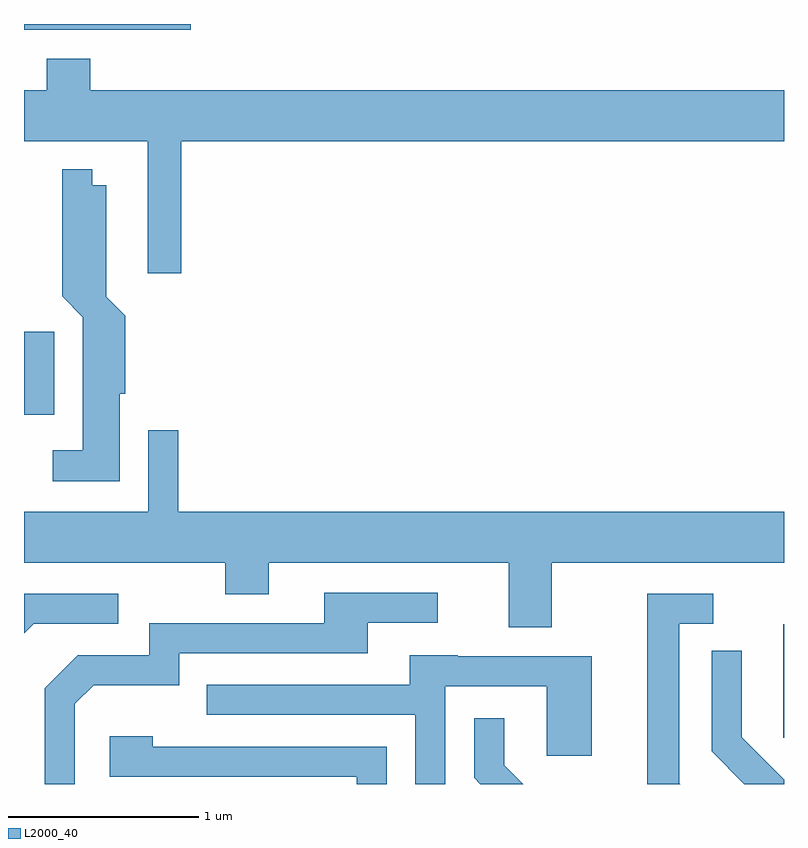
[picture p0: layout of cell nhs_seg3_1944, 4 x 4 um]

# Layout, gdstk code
import gdstk
lib = gdstk.Library(unit=1e-6, precision=1e-09)
def R(c, l, rs):  # rectangles x0, y0, x1, y1
    for r in rs: c.add(gdstk.rectangle(r[:2], r[2:], *l))
def P(c, l, *ps):  # polygons
    for p in ps: c.add(gdstk.Polygon(p, *l))
L2000_40 = (2000, 40)

nhs_seg3_1944 = lib.new_cell('nhs_seg3_1944')
R(nhs_seg3_1944, L2000_40, [(245.606,1196.136,245.611,1196.734), (241.611,1197.836,241.769,1198.273), (241.611,1199.861,242.488,1199.892)])
P(nhs_seg3_1944, L2000_40, [(242.439,1199.276),(245.611,1199.276),(245.611,1199.544),(241.959,1199.544),(241.959,1199.709),(241.731,1199.709),(241.731,1199.544),(241.611,1199.544),(241.611,1199.276),(242.261,1199.276),(242.261,1198.581),(242.439,1198.581)],
  [(242.114,1197.946),(242.144,1197.946),(242.144,1198.357),(242.044,1198.457),(242.044,1199.044),(241.969,1199.044),(241.969,1199.128),(241.811,1199.128),(241.811,1198.459),(241.921,1198.349),(241.921,1197.649),(241.763,1197.649),(241.763,1197.486),(242.114,1197.486)],
  [(244.389,1197.056),(245.611,1197.056),(245.611,1197.324),(242.424,1197.324),(242.424,1197.753),(242.266,1197.753),(242.266,1197.324),(241.611,1197.324),(241.611,1197.056),(242.671,1197.056),(242.671,1196.891),(242.899,1196.891),(242.899,1197.056),(244.161,1197.056),(244.161,1196.716),(244.389,1196.716)],
  [(241.879,1196.314),(241.977,1196.411),(242.429,1196.411),(242.429,1196.581),(243.419,1196.581),(243.419,1196.741),(243.788,1196.741),(243.788,1196.899),(243.191,1196.899),(243.191,1196.739),(242.271,1196.739),(242.271,1196.569),(241.894,1196.569),(241.721,1196.397),(241.721,1195.892),(241.879,1195.892)],
  [(241.662,1196.736),(242.108,1196.736),(242.108,1196.894),(241.611,1196.894),(241.611,1196.686)],
  [(245.059,1195.897),(245.059,1196.736),(245.238,1196.736),(245.238,1196.894),(244.891,1196.894),(244.891,1195.892),(245.064,1195.892)],
  [(245.611,1195.915),(245.389,1196.137),(245.389,1196.593),(245.231,1196.593),(245.231,1196.064),(245.403,1195.892),(245.611,1195.892)],
  [(243.829,1196.406),(244.361,1196.406),(244.361,1196.041),(244.599,1196.041),(244.599,1196.564),(243.895,1196.564),(243.895,1196.569),(243.641,1196.569),(243.641,1196.414),(242.573,1196.414),(242.573,1196.256),(243.671,1196.256),(243.671,1195.892),(243.829,1195.892)],
  [(244.139,1195.992),(244.139,1196.238),(243.981,1196.238),(243.981,1195.924),(244.013,1195.892),(244.239,1195.892)],
  [(243.519,1196.089),(242.289,1196.089),(242.289,1196.144),(242.061,1196.144),(242.061,1195.931),(243.361,1195.931),(243.361,1195.892),(243.519,1195.892)])

lib.write_gds('nhs_seg3_1944.gds')
